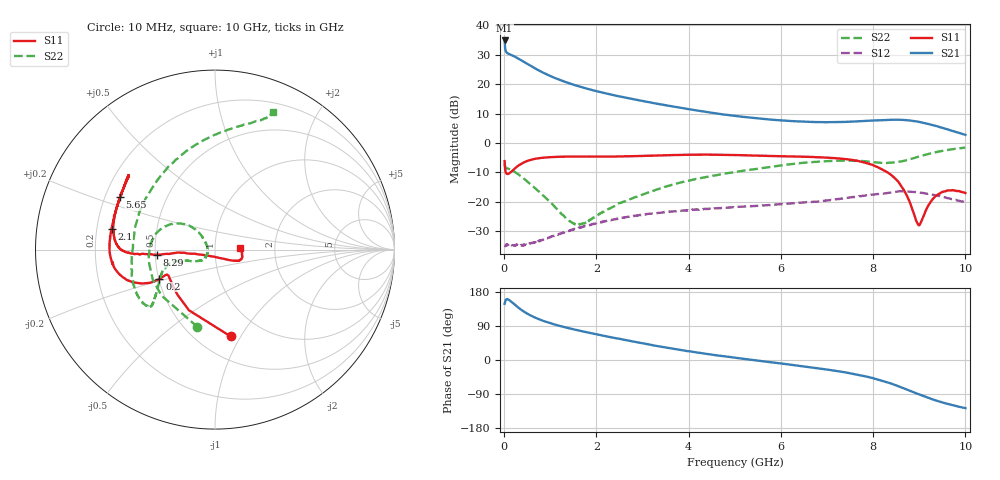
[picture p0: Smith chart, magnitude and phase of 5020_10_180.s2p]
# Hz S  dB  R 50
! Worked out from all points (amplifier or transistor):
!   1000 points, 10 MHz to 10 GHz, reference 50 ohm
!   highest |S21| = 34.8 dB at 10 MHz (marker M1)
!   |S21| within 3 dB of that: start of sweep to 26.38 MHz
!   unconditionally stable (mu >= 1): 61.25 MHz to end of sweep
!   at 1.67 GHz: K = 1.17, MAG = 21.4 dB, |S12| = -28.8 dB
!   at 5.01 GHz: K = 1.11, MAG = 13.5 dB, |S12| = -21.8 dB
!   at 10 GHz: K = 1.13, MAG = 9.3 dB, |S12| = -20.2 dB
!   S11 on the Smith chart (normalised r, x): 10 MHz: 0.71, -0.91; 200 MHz: 0.50, -0.19; 2.1 GHz: 0.26, +0.09; 5.65 GHz: 0.26, +0.24; 8.29 GHz: 0.51, -0.03; 10 GHz: 1.33, +0.03
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1e7  -6.16 -79.7  34.84 148.4  -34.85 29.5  -7.10 -102.8
7e7  -10.55 -149.8  30.54 160.5  -34.69 7.5  -8.63 -175.3
8e7  -10.53 -151.2  30.44 160.1  -34.56 8.3  -8.73 -178.1
1.1e8  -10.35 -152.6  30.22 158.1  -34.76 8.4  -8.86 175.4
2e8  -9.14 -152.3  29.59 149.1  -34.75 9.0  -9.54 162.5
3e8  -7.79 -153.0  28.76 138.9  -34.96 14.3  -10.59 152.6
4.1e8  -6.73 -156.0  27.73 129.2  -34.98 16.8  -11.91 145.0
5.8e8  -5.73 -160.8  26.14 117.1  -34.09 25.3  -14.12 137.2
7.5e8  -5.19 -165.6  24.66 107.8  -33.36 31.8  -16.52 134.4
9.1e8  -4.92 -169.3  23.41 100.7  -32.47 35.0  -18.70 133.8
1.12e9  -4.73 -173.7  21.97 92.9  -31.22 39.5  -22.04 138.2
1.36e9  -4.64 -178.1  20.56 85.2  -30.23 41.1  -25.93 153.5
1.68e9  -4.60 176.1  18.98 76.1  -28.54 42.4  -27.50 -168.6
2.1e9  -4.62 168.6  17.25 65.4  -26.87 39.7  -23.79 -141.5
3.34e9  -4.25 146.6  13.27 36.3  -23.74 27.6  -15.70 -157.7
5.01e9  -4.09 142.6  9.20 5.9  -21.83 10.7  -9.86 -156.5
5.65e9  -4.37 150.9  8.11 -3.9  -21.24 4.0  -8.40 -146.8
6.67e9  -4.75 168.6  7.14 -19.5  -20.04 -6.2  -6.52 -138.5
8.29e9  -9.80 -175.1  7.82 -58.2  -17.11 -37.1  -6.79 170.1
8.34e9  -10.28 -174.8  7.85 -60.1  -16.94 -38.1  -6.69 165.8
8.99e9  -27.94 -101.8  7.18 -90.5  -16.83 -66.1  -4.64 102.3
1e10  -17.01 4.7  2.77 -127.0  -20.24 -99.9  -1.58 67.1
